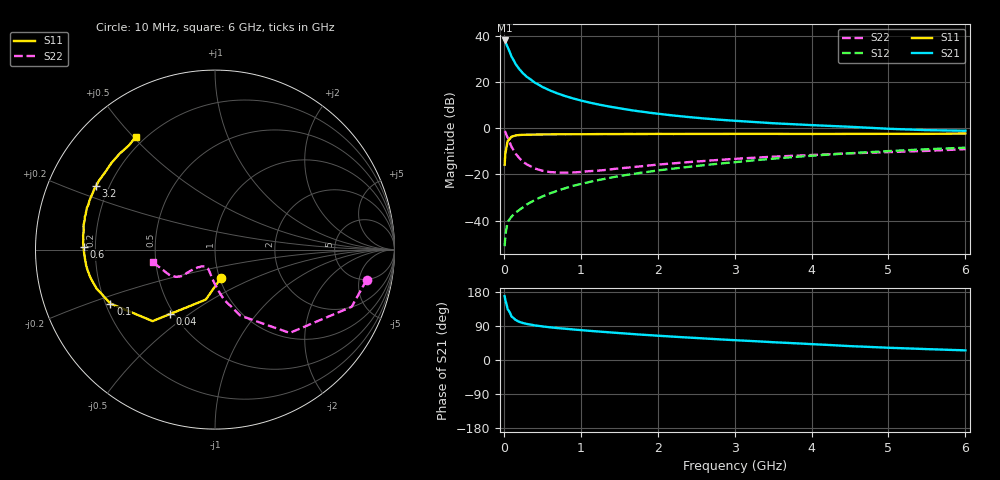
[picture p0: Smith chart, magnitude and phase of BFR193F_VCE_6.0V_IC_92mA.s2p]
! Infineon Technologies  Discrete & RF Semiconductors
! BFR193F
! VCE =  6.0 V,  IC =  92 mA
! Common Emitter S-Parameters:  Jan 2017
# GHz  S  MA  R  50
!  f  S11  S21  S12  S22
! GHz  MAG  ANG  MAG  ANG  MAG  ANG  MAG  ANG
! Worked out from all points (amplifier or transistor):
!   77 points, 10 MHz to 6 GHz, reference 50 ohm
!   highest |S21| = 37.9 dB at 10 MHz (marker M1)
!   |S21| within 3 dB of that: start of sweep to 50.71 MHz
!   unconditionally stable (mu >= 1): 478.7 MHz to 2.753 GHz
!   at 130 MHz: K = 0.63, MSG = 33.2 dB, |S12| = -37.2 dB
!   at 2.2 GHz: K = 1.03, MAG = 10.4 dB, |S12| = -17.5 dB
!   at 6 GHz: K = 0.87, MSG = 3.7 dB, |S12| = -8.5 dB
!   S11 on the Smith chart (normalised r, x): 10 MHz: 1.02, -0.33; 40 MHz: 0.48, -0.42; 100 MHz: 0.22, -0.23; 600 MHz: 0.15, +0.01; 3.2 GHz: 0.15, +0.24; 6 GHz: 0.17, +0.51
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0.01  0.1614 -78.0  78.93 168.6  0.0028 84.3  0.862 -11.2
0.02  0.283 -100.4  74.47 157.4  0.0047 75.4  0.8254 -22.7
0.04  0.4364 -124.8  61.01 143.0  0.0077 61.2  0.6747 -38.0
0.05  0.529 -131.1  56.21 133.6  0.0093 57.7  0.6237 -48.1
0.1  0.6556 -152.7  35.23 114.5  0.0122 52.0  0.3939 -69.0
0.15  0.6951 -161.9  24.82 106.0  0.0148 53.4  0.2848 -79.6
0.2  0.7109 -167.1  18.99 100.8  0.0169 57.3  0.2261 -85.8
0.25  0.7192 -170.8  15.33 97.5  0.0195 62.1  0.1868 -91.0
0.3  0.7234 -173.1  12.86 95.1  0.0224 64.9  0.1641 -95.1
0.4  0.7272 -176.7  9.708 91.3  0.0277 68.2  0.1346 -101.5
0.5  0.7302 -179.1  7.81 88.6  0.0332 70.9  0.1199 -106.7
0.6  0.7325 178.8  6.54 86.3  0.0388 72.3  0.1123 -111.2
0.7  0.7359 177.0  5.624 84.2  0.0445 73.8  0.11 -115.1
0.8  0.7355 175.6  4.929 82.5  0.0504 74.8  0.109 -119.1
1.1  0.7401 171.4  3.622 77.2  0.0678 76.0  0.1172 -126.6
1.5  0.7446 167.1  2.694 71.1  0.0918 77.1  0.1349 -133.3
2.1  0.7496 161.3  1.967 62.9  0.1273 76.6  0.1678 -138.2
3.1  0.7518 152.8  1.411 51.3  0.1903 74.2  0.2215 -140.7
3.2  0.7517 152.0  1.377 50.3  0.1974 73.8  0.2265 -141.0
4.1  0.7488 143.9  1.144 40.9  0.2598 69.7  0.2669 -145.5
5.1  0.753 133.8  0.957 31.6  0.3252 63.5  0.307 -157.1
6  0.768 125.2  0.879 25.4  0.3777 57.7  0.3516 -168.3
